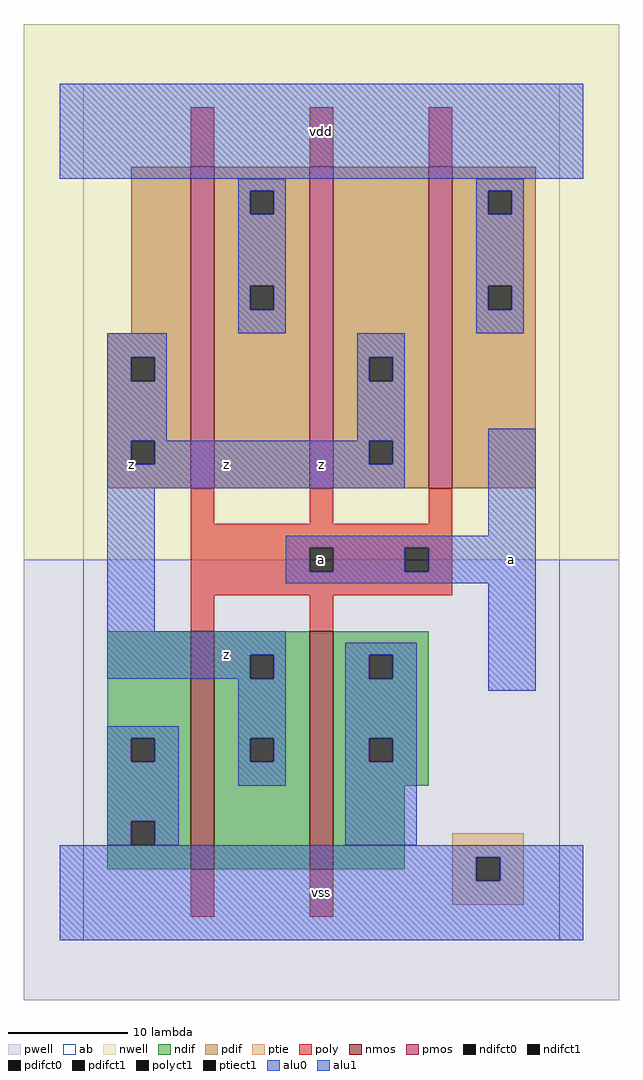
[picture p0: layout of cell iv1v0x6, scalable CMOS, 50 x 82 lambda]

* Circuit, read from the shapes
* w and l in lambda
.subckt iv1v0x6 a vdd vss z
M1 z a vss vss nfet w=20 l=2 m=2
M2 vdd a z n1 pfet w=27 l=2 m=3
.ends

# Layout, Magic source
magic
tech scmos
<< ab >>
rect 0 0 40 72
<< nwell >>
rect -5 32 45 77
<< pwell >>
rect -5 -5 45 32
<< poly >>
rect 9 65 11 70
rect 19 65 21 70
rect 29 65 31 70
rect 9 35 11 38
rect 19 35 21 38
rect 29 35 31 38
rect 9 33 31 35
rect 9 31 19 33
rect 21 31 27 33
rect 29 31 31 33
rect 9 29 31 31
rect 9 26 11 29
rect 19 26 21 29
rect 9 2 11 6
rect 19 2 21 6
<< ndif >>
rect 2 17 9 26
rect 2 15 4 17
rect 6 15 9 17
rect 2 10 9 15
rect 2 8 4 10
rect 6 8 9 10
rect 2 6 9 8
rect 11 24 19 26
rect 11 22 14 24
rect 16 22 19 24
rect 11 17 19 22
rect 11 15 14 17
rect 16 15 19 17
rect 11 6 19 15
rect 21 24 29 26
rect 21 22 24 24
rect 26 22 29 24
rect 21 17 29 22
rect 21 15 24 17
rect 26 15 29 17
rect 21 13 29 15
rect 21 6 27 13
<< pdif >>
rect 4 51 9 65
rect 2 49 9 51
rect 2 47 4 49
rect 6 47 9 49
rect 2 42 9 47
rect 2 40 4 42
rect 6 40 9 42
rect 2 38 9 40
rect 11 63 19 65
rect 11 61 14 63
rect 16 61 19 63
rect 11 55 19 61
rect 11 53 14 55
rect 16 53 19 55
rect 11 38 19 53
rect 21 49 29 65
rect 21 47 24 49
rect 26 47 29 49
rect 21 42 29 47
rect 21 40 24 42
rect 26 40 29 42
rect 21 38 29 40
rect 31 63 38 65
rect 31 61 34 63
rect 36 61 38 63
rect 31 55 38 61
rect 31 53 34 55
rect 36 53 38 55
rect 31 38 38 53
<< alu1 >>
rect -2 64 42 72
rect 2 49 7 51
rect 2 47 4 49
rect 6 47 7 49
rect 2 42 7 47
rect 23 49 27 51
rect 23 47 24 49
rect 26 47 27 49
rect 23 42 27 47
rect 2 40 4 42
rect 6 40 24 42
rect 26 40 27 42
rect 2 38 27 40
rect 2 26 6 38
rect 34 34 38 43
rect 17 33 38 34
rect 17 31 19 33
rect 21 31 27 33
rect 29 31 38 33
rect 17 30 38 31
rect 2 24 17 26
rect 2 22 14 24
rect 16 22 17 24
rect 13 17 17 22
rect 13 15 14 17
rect 16 15 17 17
rect 13 13 17 15
rect 34 21 38 30
rect -2 7 42 8
rect -2 5 33 7
rect 35 5 42 7
rect -2 0 42 5
<< ptie >>
rect 31 7 37 9
rect 31 5 33 7
rect 35 5 37 7
rect 31 3 37 5
<< nmos >>
rect 9 6 11 26
rect 19 6 21 26
<< pmos >>
rect 9 38 11 65
rect 19 38 21 65
rect 29 38 31 65
<< polyct1 >>
rect 19 31 21 33
rect 27 31 29 33
<< ndifct0 >>
rect 4 15 6 17
rect 4 8 6 10
rect 24 22 26 24
rect 24 15 26 17
<< ndifct1 >>
rect 14 22 16 24
rect 14 15 16 17
<< ptiect1 >>
rect 33 5 35 7
<< pdifct0 >>
rect 14 61 16 63
rect 14 53 16 55
rect 34 61 36 63
rect 34 53 36 55
<< pdifct1 >>
rect 4 47 6 49
rect 4 40 6 42
rect 24 47 26 49
rect 24 40 26 42
<< alu0 >>
rect 13 63 17 64
rect 13 61 14 63
rect 16 61 17 63
rect 13 55 17 61
rect 13 53 14 55
rect 16 53 17 55
rect 13 51 17 53
rect 33 63 37 64
rect 33 61 34 63
rect 36 61 37 63
rect 33 55 37 61
rect 33 53 34 55
rect 36 53 37 55
rect 33 51 37 53
rect 2 17 8 18
rect 2 15 4 17
rect 6 15 8 17
rect 2 10 8 15
rect 22 24 28 25
rect 22 22 24 24
rect 26 22 28 24
rect 22 17 28 22
rect 22 15 24 17
rect 26 15 28 17
rect 2 8 4 10
rect 6 8 8 10
rect 22 8 28 15
<< labels >>
rlabel alu1 4 40 4 40 6 z
rlabel alu1 12 24 12 24 6 z
rlabel alu1 12 40 12 40 6 z
rlabel alu1 20 4 20 4 6 vss
rlabel polyct1 20 32 20 32 6 a
rlabel alu1 20 40 20 40 6 z
rlabel alu1 20 68 20 68 6 vdd
rlabel alu1 36 32 36 32 6 a
<< end >>
